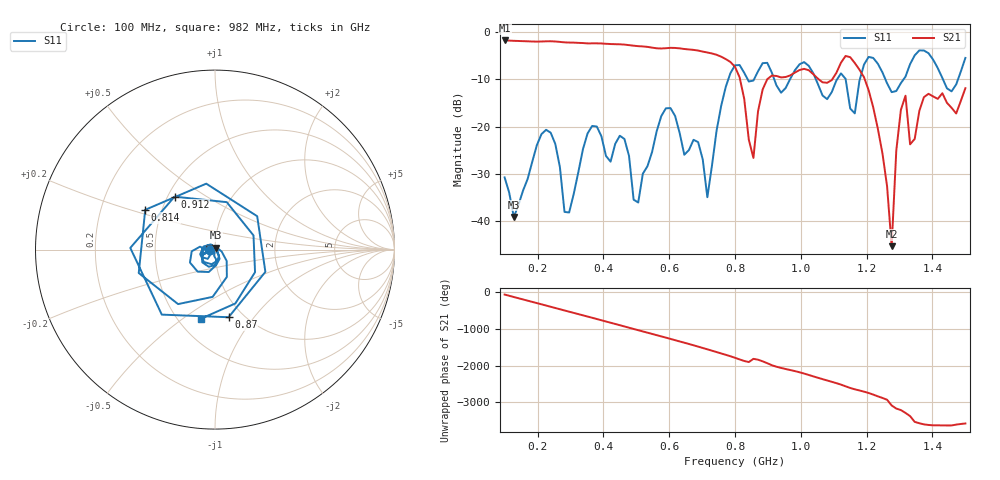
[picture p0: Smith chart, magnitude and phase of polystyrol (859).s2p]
! NanoVNA-App
! Date: 2025-09-25 15:36:34
! Start: 100MHz Stop: 1,5GHz Points: 101
! S-Parameter data: F S11 S21 S12 S22
# Hz S RI R 50
!  Frequency  S11_Real  S11_Imag  S21_Real  S21_Imag  S12_Real  S12_Imag  S22_Real  S22_Imag
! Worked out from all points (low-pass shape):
!   101 points, 100 MHz to 1.5 GHz, reference 50 ohm
!   highest |S21| = -1.80 dB at 100 MHz (marker M1); lowest = -45.2 dB at 1.276 GHz (marker M2)
!   |S21| within 3 dB of the highest: start of sweep to 743 MHz
!   lowest |S11| = -39.1 dB at 128 MHz (marker M3), VSWR 1.02, Z = 50.3 + j1.06 ohm
!   |S11| at or under -10 dB: start of sweep to 779.7 MHz; 1.046 GHz to 1.11 GHz (64.61 MHz wide, 5.99 % of centre); 1.257 GHz to 1.312 GHz (55.37 MHz wide, 4.31 % of centre)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
!   S12 and S22 are empty: the file has one direction only
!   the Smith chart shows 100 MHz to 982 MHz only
!   S11 on the Smith chart (normalised r, x): 100 MHz: 0.94, -0.01; 814 MHz: 0.40, +0.22; 870 MHz: 0.86, -0.76; 912 MHz: 0.54, +0.37; 982 MHz: 0.64, -0.59
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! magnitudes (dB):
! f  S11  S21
! 100 MHz  -30.7  -1.8
! 128 MHz  -39.1  -1.9
! 212 MHz  -21.6  -2.0
! 282 MHz  -38.0  -2.2
! 338 MHz  -24.8  -2.3
! 464 MHz  -22.6  -2.7
! 506 MHz  -36.0  -3.0
! 576 MHz  -17.8  -3.5
! 716 MHz  -34.9  -4.3
! 800 MHz  -7.0  -7.4
! 814 MHz  -7.0  -9.6
! 856 MHz  -10.3  -26.6
! 870 MHz  -8.3  -16.7
! 912 MHz  -8.6  -9.2
! 982 MHz  -8.1  -8.6
! 1.038 GHz  -8.7  -8.9
! 1.164 GHz  -17.2  -6.6
! 1.192 GHz  -6.9  -9.6
! 1.276 GHz  -12.7  -45.2
! 1.318 GHz  -9.4  -13.5
! 1.332 GHz  -6.8  -23.7
! 1.5 GHz  -5.5  -11.9
